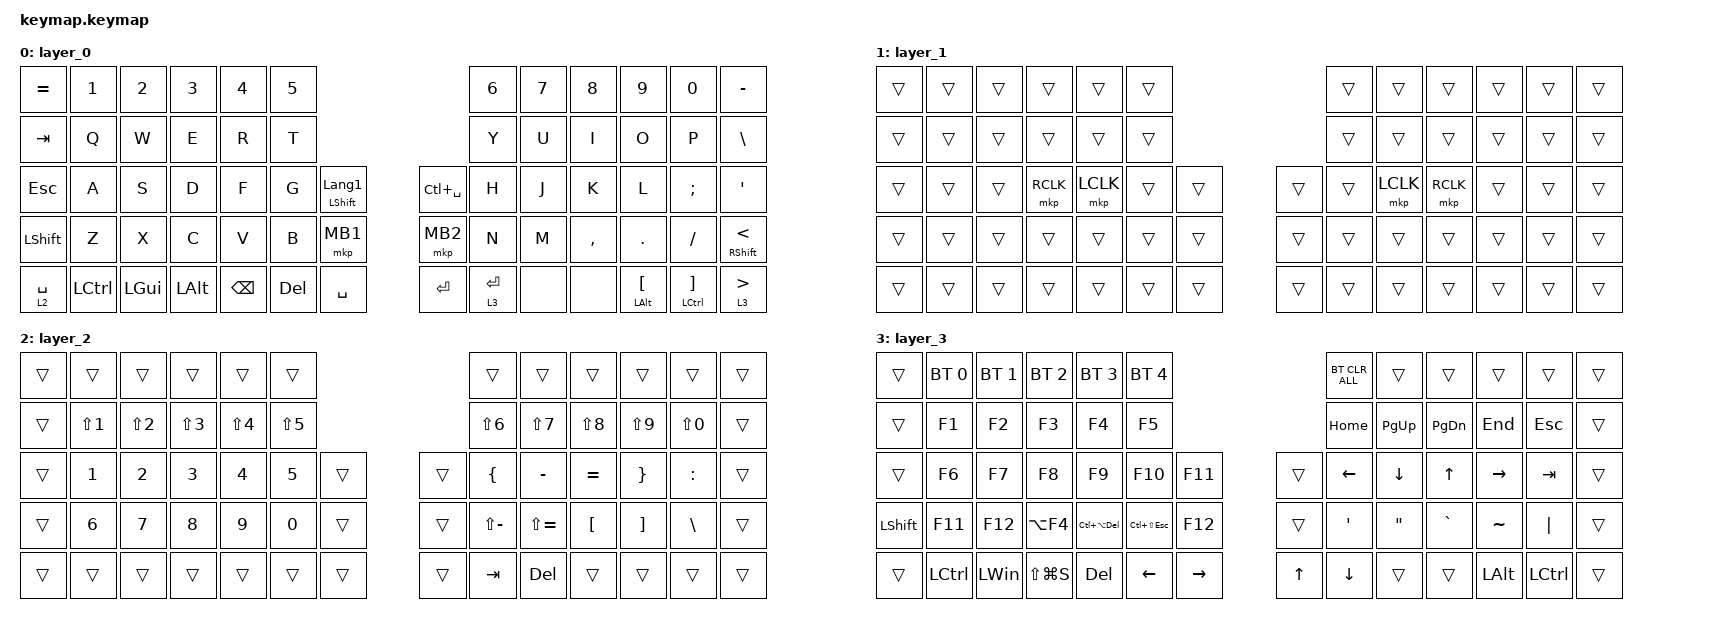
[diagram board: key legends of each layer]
#include <behaviors.dtsi>
#include <dt-bindings/zmk/bt.h>
#include <dt-bindings/zmk/keys.h>
#include <dt-bindings/zmk/pointing.h>

/ {
    combos {
        compatible = "zmk,combos";

        bt_clear {
            bindings = <&bt BT_CLR>;
            key-positions = <28 29>;
            layers = <2>;
        };
    };

    keymap {
        compatible = "zmk,keymap";

        layer_0 {
            bindings = <
&kp EQUAL    &kp N1     &kp N2    &kp N3    &kp N4    &kp N5                                                &kp N6       &kp N7  &kp N8     &kp N9                     &kp N0                          &kp MINUS
&kp TAB      &kp Q      &kp W     &kp E     &kp R     &kp T                                                 &kp Y        &kp U   &kp I      &kp O                      &kp P                           &kp BACKSLASH
&kp ESCAPE   &kp A      &kp S     &kp D     &kp F     &kp G       &mt LEFT_SHIFT LANGUAGE_1  &kp LC(SPACE)  &kp H        &kp J   &kp K      &kp L                      &kp SEMI                        &kp SQT
&kp LSHFT    &kp Z      &kp X     &kp C     &kp V     &kp B       &mkp MB1                   &mkp MB2       &kp N        &kp M   &kp COMMA  &kp DOT                    &kp SLASH                       &mt RSHFT LESS_THAN
&lt 2 SPACE  &kp LCTRL  &kp LGUI  &kp LALT  &kp BSPC  &kp DELETE  &kp SPACE                  &kp ENTER      &lt 3 ENTER  &none   &none      &mt LEFT_ALT LEFT_BRACKET  &mt LEFT_CONTROL RIGHT_BRACKET  &lt 3 GREATER_THAN
            >;
        };

        layer_1 {
            bindings = <
&trans  &trans  &trans  &trans     &trans     &trans                  &trans  &trans     &trans     &trans  &trans  &trans
&trans  &trans  &trans  &trans     &trans     &trans                  &trans  &trans     &trans     &trans  &trans  &trans
&trans  &trans  &trans  &mkp RCLK  &mkp LCLK  &trans  &trans  &trans  &trans  &mkp LCLK  &mkp RCLK  &trans  &trans  &trans
&trans  &trans  &trans  &trans     &trans     &trans  &trans  &trans  &trans  &trans     &trans     &trans  &trans  &trans
&trans  &trans  &trans  &trans     &trans     &trans  &trans  &trans  &trans  &trans     &trans     &trans  &trans  &trans
            >;
        };

        layer_2 {
            bindings = <
&trans  &trans            &trans            &trans      &trans      &trans                      &trans          &trans         &trans            &trans             &trans         &trans
&trans  &kp LS(NUMBER_1)  &kp LS(NUMBER_2)  &kp LS(N3)  &kp LS(N4)  &kp LS(N5)                  &kp LS(N6)      &kp LS(N7)     &kp LS(N8)        &kp LS(N9)         &kp LS(N0)     &trans
&trans  &kp N1            &kp N2            &kp N3      &kp N4      &kp N5      &trans  &trans  &kp LEFT_BRACE  &kp MINUS      &kp EQUAL         &kp RIGHT_BRACE    &kp COLON      &trans
&trans  &kp N6            &kp N7            &kp N8      &kp N9      &kp N0      &trans  &trans  &kp LS(MINUS)   &kp LS(EQUAL)  &kp LEFT_BRACKET  &kp RIGHT_BRACKET  &kp BACKSLASH  &trans
&trans  &trans            &trans            &trans      &trans      &trans      &trans  &trans  &kp TAB         &kp DEL        &trans            &trans             &trans         &trans
            >;
        };

        layer_3 {
            bindings = <
&trans          &bt BT_SEL 0      &bt BT_SEL 1  &bt BT_SEL 2   &bt BT_SEL 3     &bt BT_SEL 4                                 &bt BT_CLR_ALL    &trans     &trans         &trans        &trans            &trans
&trans          &kp F1            &kp F2        &kp F3         &kp F4           &kp F5                                       &kp HOME          &kp PG_UP  &kp PAGE_DOWN  &kp END       &kp ESCAPE        &trans
&trans          &kp F6            &kp F7        &kp F8         &kp F9           &kp F10             &kp F11    &trans        &kp LEFT          &kp DOWN   &kp UP_ARROW   &kp RIGHT     &kp TAB           &trans
&kp LEFT_SHIFT  &kp F11           &kp F12       &kp LA(F4)     &kp LC(LA(DEL))  &kp LC(LS(ESCAPE))  &kp F12    &trans        &kp SINGLE_QUOTE  &kp DQT    &kp GRAVE      &kp TILDE     &kp PIPE          &trans
&trans          &kp LEFT_CONTROL  &kp LEFT_WIN  &kp LS(LG(S))  &kp DELETE       &kp LEFT            &kp RIGHT  &kp UP_ARROW  &kp DOWN_ARROW    &trans     &trans         &kp LEFT_ALT  &kp LEFT_CONTROL  &trans
            >;
        };
    };
};
